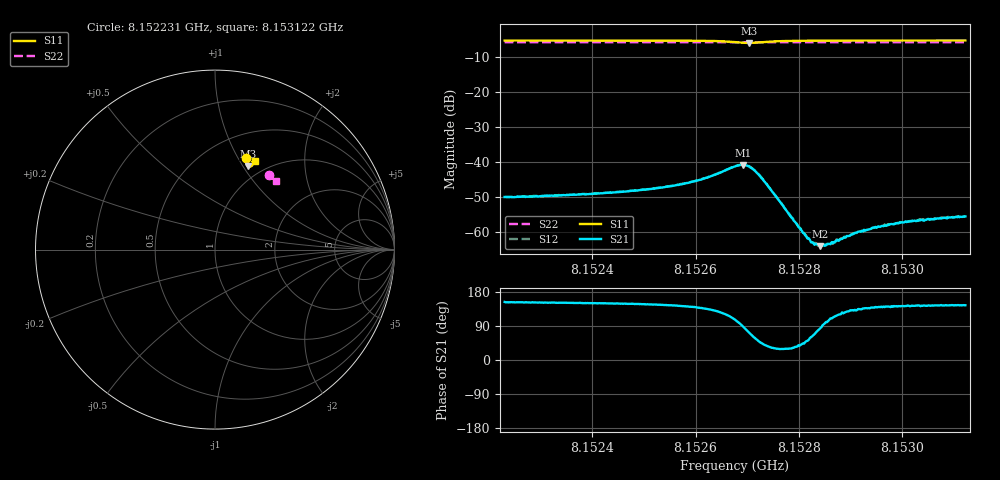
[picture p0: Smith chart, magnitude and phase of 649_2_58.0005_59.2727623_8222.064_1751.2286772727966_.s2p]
#  HZ  S  RI  R  50.00
! Rohde & Schwarz Vector Network Analyzer
! Rohde-Schwarz,ZNB20-2Port,1311601062101988,3.16
! Created: UTC 3/21/2024, 1:19:22 AM
! freq[Hz]  re:S11  im:S11  re:S21  im:S21  re:S12  im:S12  re:S22  im:S22
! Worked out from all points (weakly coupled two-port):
!   401 points, 8.152231 GHz to 8.153122 GHz, reference 50 ohm
!   highest |S21| = -40.89 dB at 8.152692 GHz (marker M1); lowest = -64.1 dB at 8.152841 GHz (marker M2)
!   lowest |S11| = -6.0 dB at 8.152703 GHz (marker M3), VSWR 2.99, Z = 42.7 + j52.7 ohm
!   |S11| at or under -10 dB: nowhere
!   |S22| runs from -5.9 to -5.8 dB; largest |S21 - S12| = 0.00017
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8.1522308e9  0.1728 0.5121  -0.0028 0.00142  -0.00277 0.00151  0.2983 0.4158
8.1523801e9  0.1841 0.5082  -0.00298 0.00171  -0.00298 0.00176  0.306 0.41
8.1524647e9  0.1912 0.5054  -0.0032 0.00195  -0.0032 0.00202  0.3103 0.4067
8.1525293e9  0.1974 0.5022  -0.00349 0.00237  -0.0035 0.00245  0.3134 0.4039
8.1525717e9  0.202 0.4991  -0.00378 0.00289  -0.00378 0.003  0.3156 0.4022
8.1526073e9  0.2065 0.4948  -0.00408 0.00369  -0.00406 0.00376  0.3175 0.4006
8.152634e9  0.2101 0.4889  -0.00422 0.00479  -0.00416 0.00487  0.3187 0.3993
8.1526764e9  0.2075 0.4692  -0.00242 0.00822  -0.00237 0.0083  0.3203 0.3971
8.152692e9  0.1961 0.4624  0.00028 0.00902  0.000343 0.00908  0.3205 0.3963
8.1527031e9  0.185 0.4638  0.00251 0.0082  0.00259 0.00831  0.3207 0.3961
8.152712e9  0.1781 0.4693  0.00375 0.00679  0.00384 0.00682  0.321 0.396
8.1527254e9  0.1742 0.48  0.00424 0.00445  0.0043 0.00448  0.3216 0.3959
8.1528033e9  0.1922 0.5001  0.000826 0.000685  0.000857 0.000702  0.3261 0.3933
8.1528123e9  0.1938 0.5004  0.000597 0.000653  0.000636 0.000655  0.3266 0.393
8.1528256e9  0.1961 0.5004  0.000326 0.000627  0.000321 0.000629  0.3273 0.3923
8.1528412e9  0.1984 0.5002  7.02e-05 0.00062  7.95e-05 0.00063  0.3281 0.3917
8.1528635e9  0.2013 0.5001  -0.000238 0.00067  -0.000204 0.000665  0.3292 0.3908
8.1528835e9  0.2036 0.4996  -0.00046 0.000639  -0.00044 0.00067  0.3302 0.3899
8.1529125e9  0.2067 0.499  -0.000658 0.000728  -0.000667 0.000701  0.3317 0.3886
8.1529749e9  0.2124 0.4973  -0.000979 0.000801  -0.000958 0.000842  0.3347 0.386
8.153035e9  0.2171 0.4956  -0.00115 0.000899  -0.0012 0.000899  0.3375 0.3834
8.1531219e9  0.2238 0.4931  -0.00135 0.000961  -0.00135 0.000986  0.3416 0.3795
